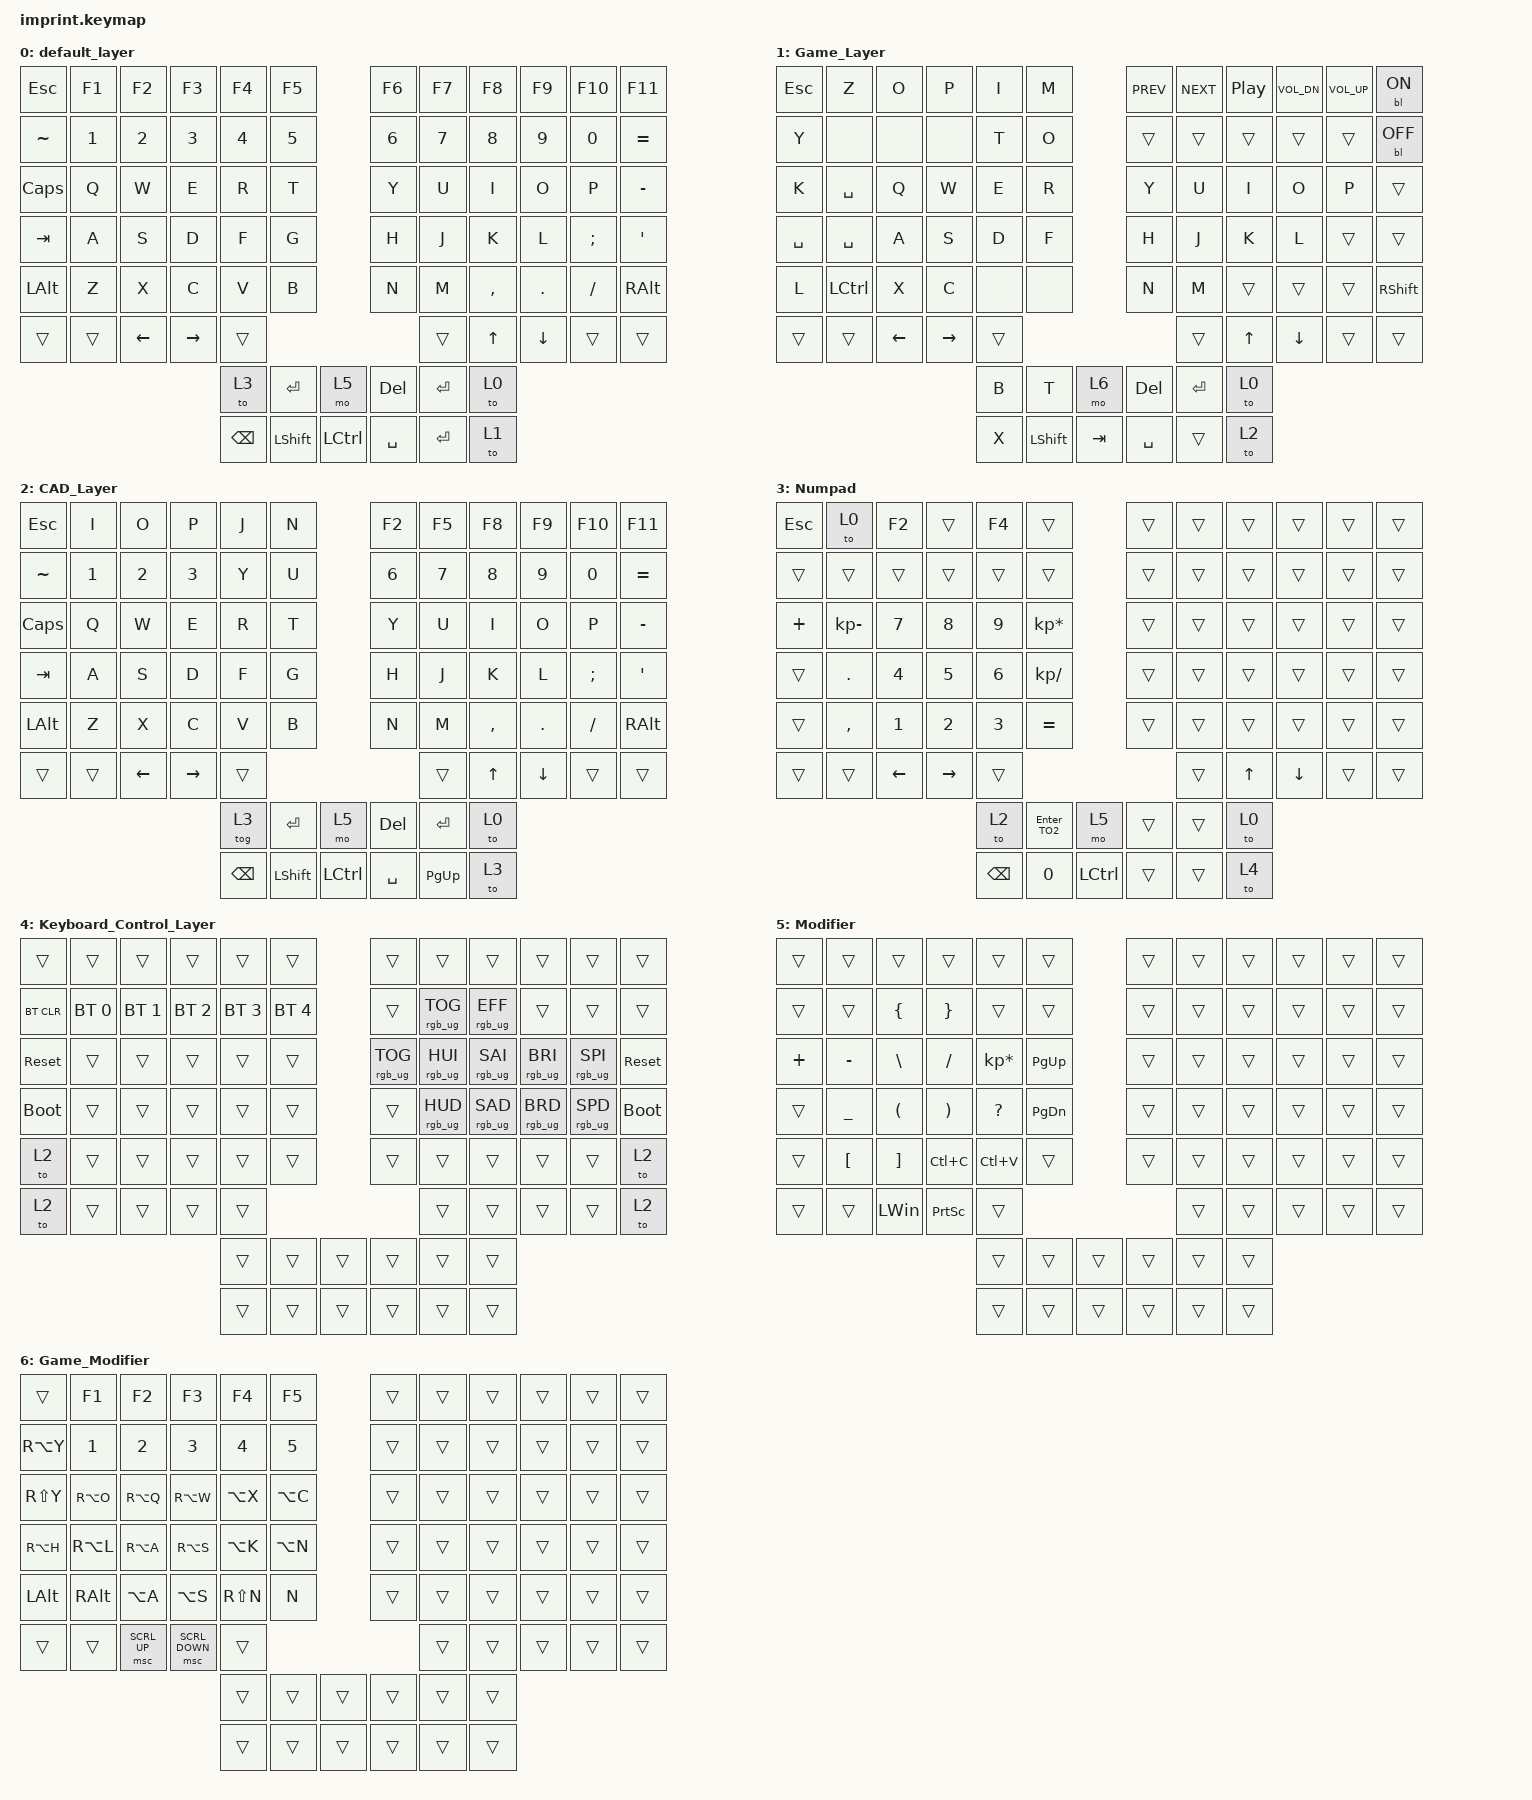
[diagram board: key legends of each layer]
#include <input/processors.dtsi>
#include <dt-bindings/zmk/input_transform.h>
#include <behaviors.dtsi>
#include <dt-bindings/zmk/backlight.h>
#include <dt-bindings/zmk/bt.h>
#include <dt-bindings/zmk/keys.h>

#define ZMK_POINTING_DEFAULT_SCRL_VAL 40    // default: 10

#include <dt-bindings/zmk/pointing.h>
#include <dt-bindings/zmk/rgb.h>

/ {
    chosen { zmk,matrix-transform = &imprint_function_row_full_bottom_row; };

    macros {
        Enter_TO2: Enter_TO2 {
            compatible = "zmk,behavior-macro";
            #binding-cells = <0>;
            bindings = <&kp ENTER &to 2>;
            label = "ENTER_TO2";
        };
    };

    keymap {
        compatible = "zmk,keymap";

        default_layer {
            bindings = <
&kp ESC       &kp F1  &kp F2          &kp F3           &kp F4         &kp F5                       &kp F6     &kp F7     &kp F8        &kp F9          &kp F10   &kp F11
&kp TILDE     &kp N1  &kp N2          &kp N3           &kp N4         &kp N5                       &kp N6     &kp N7     &kp N8        &kp N9          &kp N0    &kp EQUAL
&kp CAPS      &kp Q   &kp W           &kp E            &kp R          &kp T                        &kp Y      &kp U      &kp I         &kp O           &kp P     &kp MINUS
&kp TAB       &kp A   &kp S           &kp D            &kp F          &kp G                        &kp H      &kp J      &kp K         &kp L           &kp SEMI  &kp SQT
&kp LEFT_ALT  &kp Z   &kp X           &kp C            &kp V          &kp B                        &kp N      &kp M      &kp COMMA     &kp DOT         &kp FSLH  &kp RIGHT_ALT
&trans        &trans  &kp LEFT_ARROW  &kp RIGHT_ARROW  &trans                                                 &trans     &kp UP_ARROW  &kp DOWN_ARROW  &trans    &trans
                                                       &to 3          &kp ENTER       &mo 5        &kp DEL    &kp ENTER  &to 0
                                                       &kp BACKSPACE  &kp LEFT_SHIFT  &kp LCTRL    &kp SPACE  &kp ENTER  &to 1
            >;
        };

        Game_Layer {
            bindings = <
&kp ESCAPE  &kp Z      &kp O           &kp P            &kp I   &kp M                      &kp C_PREV  &kp C_NEXT  &kp C_PLAY_PAUSE  &kp C_VOL_DN    &kp C_VOL_UP  &bl BL_ON
&kp Y       &none      &none           &none            &kp T   &kp O                      &trans      &trans      &trans            &trans          &trans        &bl BL_OFF
&kp K       &kp SPACE  &kp Q           &kp W            &kp E   &kp R                      &kp Y       &kp U       &kp I             &kp O           &kp P         &trans
&kp SPACE   &kp SPACE  &kp A           &kp S            &kp D   &kp F                      &kp H       &kp J       &kp K             &kp L           &trans        &trans
&kp L       &kp LCTRL  &kp X           &kp C            &none   &none                      &kp N       &kp M       &trans            &trans          &trans        &kp RIGHT_SHIFT
&trans      &trans     &kp LEFT_ARROW  &kp RIGHT_ARROW  &trans                                         &trans      &kp UP_ARROW      &kp DOWN_ARROW  &trans        &trans
                                                        &kp B   &kp T           &mo 6      &kp DEL     &kp ENTER   &to 0
                                                        &kp X   &kp LEFT_SHIFT  &kp TAB    &kp SPACE   &trans      &to 2
            >;
        };

        CAD_Layer {
            bindings = <
&kp ESC       &kp I   &kp O           &kp P            &kp J          &kp N                        &kp F2     &kp F5     &kp F8        &kp F9          &kp F10   &kp F11
&kp TILDE     &kp N1  &kp N2          &kp N3           &kp Y          &kp U                        &kp N6     &kp N7     &kp N8        &kp N9          &kp N0    &kp EQUAL
&kp CAPS      &kp Q   &kp W           &kp E            &kp R          &kp T                        &kp Y      &kp U      &kp I         &kp O           &kp P     &kp MINUS
&kp TAB       &kp A   &kp S           &kp D            &kp F          &kp G                        &kp H      &kp J      &kp K         &kp L           &kp SEMI  &kp SQT
&kp LEFT_ALT  &kp Z   &kp X           &kp C            &kp V          &kp B                        &kp N      &kp M      &kp COMMA     &kp DOT         &kp FSLH  &kp RIGHT_ALT
&trans        &trans  &kp LEFT_ARROW  &kp RIGHT_ARROW  &trans                                                 &trans     &kp UP_ARROW  &kp DOWN_ARROW  &trans    &trans
                                                       &tog 3         &kp ENTER       &mo 5        &kp DEL    &kp ENTER  &to 0
                                                       &kp BACKSPACE  &kp LEFT_SHIFT  &kp LCTRL    &kp SPACE  &kp PG_UP  &to 3
            >;
        };

        Numpad {
            bindings = <
&kp ESCAPE  &to 0            &kp F2          &trans           &kp F4         &trans                        &trans  &trans  &trans        &trans    &trans  &trans
&trans      &trans           &trans          &trans           &trans         &trans                        &trans  &trans  &trans        &trans    &trans  &trans
&kp PLUS    &kp KP_SUBTRACT  &kp NUMBER_7    &kp N8           &kp N9         &kp KP_MULTIPLY               &trans  &trans  &trans        &trans    &trans  &trans
&trans      &kp PERIOD       &kp NUMBER_4    &kp N5           &kp NUMBER_6   &kp KP_SLASH                  &trans  &trans  &trans        &trans    &trans  &trans
&trans      &kp COMMA        &kp NUMBER_1    &kp NUMBER_2     &kp NUMBER_3   &kp EQUAL                     &trans  &trans  &trans        &trans    &trans  &trans
&trans      &trans           &kp LEFT_ARROW  &kp RIGHT_ARROW  &trans                                               &trans  &kp UP_ARROW  &kp DOWN  &trans  &trans
                                                              &to 2          &Enter_TO2       &mo 5        &trans  &trans  &to 0
                                                              &kp BACKSPACE  &kp N0           &kp LCTRL    &trans  &trans  &to 4
            >;
        };

        Keyboard_Control_Layer {
            bindings = <
&trans       &trans        &trans        &trans        &trans        &trans                  &trans           &trans           &trans           &trans           &trans           &trans
&bt BT_CLR   &bt BT_SEL 0  &bt BT_SEL 1  &bt BT_SEL 2  &bt BT_SEL 3  &bt BT_SEL 4            &trans           &rgb_ug RGB_TOG  &rgb_ug RGB_EFF  &trans           &trans           &trans
&sys_reset   &trans        &trans        &trans        &trans        &trans                  &rgb_ug RGB_TOG  &rgb_ug RGB_HUI  &rgb_ug RGB_SAI  &rgb_ug RGB_BRI  &rgb_ug RGB_SPI  &sys_reset
&bootloader  &trans        &trans        &trans        &trans        &trans                  &trans           &rgb_ug RGB_HUD  &rgb_ug RGB_SAD  &rgb_ug RGB_BRD  &rgb_ug RGB_SPD  &bootloader
&to 2        &trans        &trans        &trans        &trans        &trans                  &trans           &trans           &trans           &trans           &trans           &to 2
&to 2        &trans        &trans        &trans        &trans                                                 &trans           &trans           &trans           &trans           &to 2
                                                       &trans        &trans        &trans    &trans           &trans           &trans
                                                       &trans        &trans        &trans    &trans           &trans           &trans
            >;
        };

        Modifier {
            bindings = <
&trans    &trans            &trans                &trans                 &trans           &trans               &trans  &trans  &trans  &trans  &trans  &trans
&trans    &trans            &kp LEFT_BRACE        &kp RIGHT_BRACE        &trans           &trans               &trans  &trans  &trans  &trans  &trans  &trans
&kp PLUS  &kp MINUS         &kp BACKSLASH         &kp SLASH              &kp KP_MULTIPLY  &kp PG_UP            &trans  &trans  &trans  &trans  &trans  &trans
&trans    &kp UNDER         &kp LEFT_PARENTHESIS  &kp RIGHT_PARENTHESIS  &kp QUESTION     &kp PG_DN            &trans  &trans  &trans  &trans  &trans  &trans
&trans    &kp LEFT_BRACKET  &kp RIGHT_BRACKET     &kp LC(C)              &kp LC(V)        &trans               &trans  &trans  &trans  &trans  &trans  &trans
&trans    &trans            &kp LEFT_WIN          &kp PSCRN              &trans                                        &trans  &trans  &trans  &trans  &trans
                                                                         &trans           &trans     &trans    &trans  &trans  &trans
                                                                         &trans           &trans     &trans    &trans  &trans  &trans
            >;
        };

        Game_Modifier {
            bindings = <
&trans     &kp F1        &kp F2        &kp F3          &kp F4        &kp F5               &trans  &trans  &trans  &trans  &trans  &trans
&kp RA(Y)  &kp NUMBER_1  &kp NUMBER_2  &kp NUMBER_3    &kp NUMBER_4  &kp N5               &trans  &trans  &trans  &trans  &trans  &trans
&kp RS(Y)  &kp RA(O)     &kp RA(Q)     &kp RA(W)       &kp LA(X)     &kp LA(C)            &trans  &trans  &trans  &trans  &trans  &trans
&kp RA(H)  &kp RA(L)     &kp RA(A)     &kp RA(S)       &kp LA(K)     &kp LA(N)            &trans  &trans  &trans  &trans  &trans  &trans
&kp LALT   &kp RALT      &kp LA(A)     &kp LA(S)       &kp RS(N)     &kp N                &trans  &trans  &trans  &trans  &trans  &trans
&trans     &trans        &msc SCRL_UP  &msc SCRL_DOWN  &trans                                     &trans  &trans  &trans  &trans  &trans
                                                       &trans        &trans     &trans    &trans  &trans  &trans
                                                       &trans        &trans     &trans    &trans  &trans  &trans
            >;
        };
    };
};

// right hand trackball configuration
// &trackball_peripheral_listener {
//    input-processors =
//     activate layer 3 within 500ms of the trackball moving
//     <&zip_temp_layer 3 500>;
// };
//left hand trackball configuration

&trackball_central_listener {
    input-processors =
        // multiply sensitivity by 1, divide by 3 (make it slower for scrolling),,,,,,,,,,,,,,,,,,,,
        <&zip_xy_scaler 1 3>,
        // make this trackball output scrolling events by default instead of cursor movement,,,,,,,,,,,,,,,,,,,,
        <&zip_xy_to_scroll_mapper>,
        // invert vertical scrolling so that the view moves in the same direction as the top of the trackball.,,,,,,,,,,,,,,,,,,,,
        <&zip_scroll_transform INPUT_TRANSFORM_Y_INVERT>;
};
